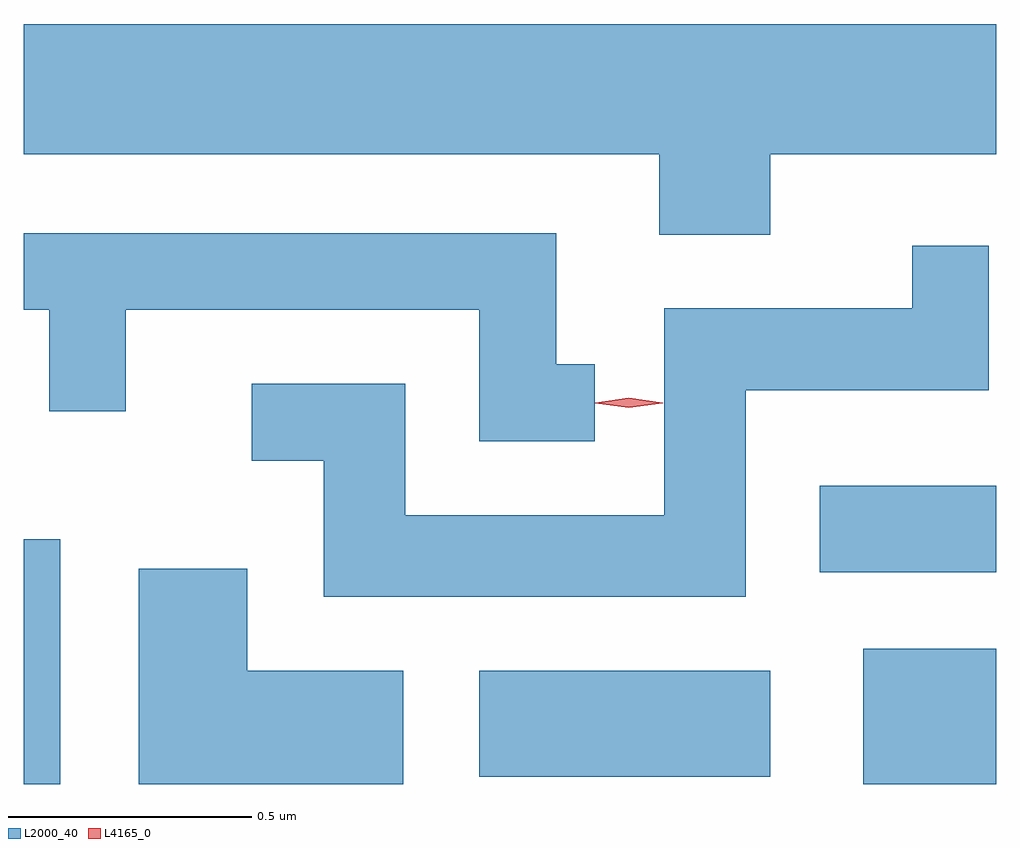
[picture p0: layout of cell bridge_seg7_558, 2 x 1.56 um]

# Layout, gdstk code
import gdstk
lib = gdstk.Library(unit=1e-6, precision=1e-09)
def R(c, l, rs):  # rectangles x0, y0, x1, y1
    for r in rs: c.add(gdstk.rectangle(r[:2], r[2:], *l))
def P(c, l, *ps):  # polygons
    for p in ps: c.add(gdstk.Polygon(p, *l))
L2000_40 = (2000, 40)
L4165_0 = (4165, 0)

bridge_seg7_558 = lib.new_cell('bridge_seg7_558')
R(bridge_seg7_558, L2000_40, [(937.354,1744.101,937.429,1744.604), (939.081,1744.101,939.354,1744.379), (938.291,1744.116,938.889,1744.334), (938.991,1744.536,939.354,1744.714)])
P(bridge_seg7_558, L2000_40, [(938.889,1745.396),(939.354,1745.396),(939.354,1745.664),(937.354,1745.664),(937.354,1745.396),(938.661,1745.396),(938.661,1745.231),(938.889,1745.231)],
  [(938.528,1744.964),(938.449,1744.964),(938.449,1745.234),(937.354,1745.234),(937.354,1745.076),(937.406,1745.076),(937.406,1744.868),(937.564,1744.868),(937.564,1745.076),(938.291,1745.076),(938.291,1744.806),(938.528,1744.806)],
  [(938.839,1744.911),(939.339,1744.911),(939.339,1745.208),(939.181,1745.208),(939.181,1745.079),(938.671,1745.079),(938.671,1744.654),(938.139,1744.654),(938.139,1744.924),(937.823,1744.924),(937.823,1744.766),(937.971,1744.766),(937.971,1744.486),(938.839,1744.486)],
  [(938.134,1744.334),(937.814,1744.334),(937.814,1744.544),(937.591,1744.544),(937.591,1744.101),(938.134,1744.101)])
P(bridge_seg7_558, L4165_0, [(938.598,1744.875),(938.529,1744.884),(938.529,1744.885),(938.529,1744.885),(938.598,1744.895),(938.668,1744.885),(938.668,1744.885),(938.668,1744.884)])

lib.write_gds('bridge_seg7_558.gds')
